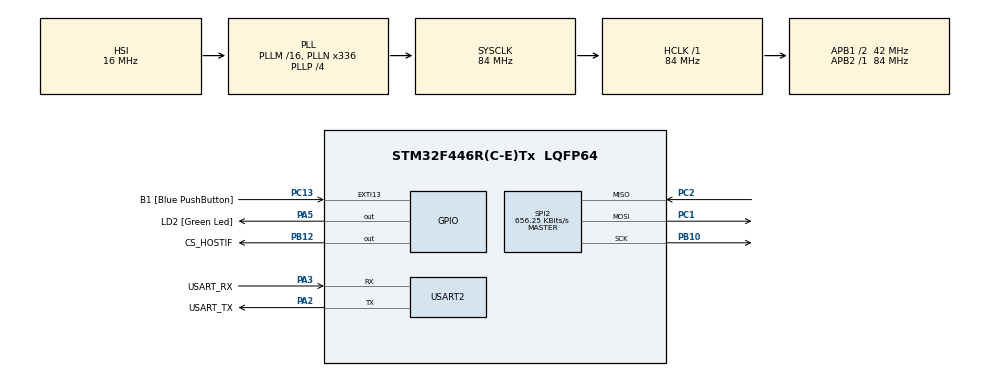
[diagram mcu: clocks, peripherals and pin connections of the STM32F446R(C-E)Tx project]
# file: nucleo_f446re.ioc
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Mcu.Family=STM32F4
Mcu.Name=STM32F446R(C-E)Tx
Mcu.Package=LQFP64
NVIC.PriorityGroup=NVIC_PRIORITYGROUP_0
PA13.GPIO_Label=TMS
PA13.Mode=Serial_Wire
PA13.Signal=SYS_JTMS-SWDIO
PA14.GPIO_Label=TCK
PA14.Mode=Serial_Wire
PA14.Signal=SYS_JTCK-SWCLK
PA2.GPIO_Label=USART_TX
PA2.Mode=Asynchronous
PA2.Signal=USART2_TX
PA3.GPIO_Label=USART_RX
PA3.Mode=Asynchronous
PA3.Signal=USART2_RX
PA5.GPIO_Label=LD2 [Green Led]
PA5.Signal=GPIO_Output
PB10.Mode=Full_Duplex_Master
PB10.Signal=SPI2_SCK
PB12.GPIO_Label=CS_HOSTIF
PB12.PinState=GPIO_PIN_SET
PB12.Signal=GPIO_Output
PB3.GPIO_Label=SWO
PB3.Signal=SYS_JTDO-SWO
PC1.Mode=Full_Duplex_Master
PC1.Signal=SPI2_MOSI
PC13.GPIO_Label=B1 [Blue PushButton]
PC13.GPIO_ModeDefaultEXTI=GPIO_MODE_IT_FALLING
PC13.Signal=GPXTI13
PC14-OSC32_IN.Mode=LSE-External-Oscillator
PC14-OSC32_IN.Signal=RCC_OSC32_IN
PC15-OSC32_OUT.Mode=LSE-External-Oscillator
PC15-OSC32_OUT.Signal=RCC_OSC32_OUT
PC2.Mode=Full_Duplex_Master
PC2.Signal=SPI2_MISO
PH0-OSC_IN.Mode=HSE-External-Oscillator
PH0-OSC_IN.Signal=RCC_OSC_IN
PH1-OSC_OUT.Mode=HSE-External-Oscillator
PH1-OSC_OUT.Signal=RCC_OSC_OUT
ProjectManager.HeapSize=0x200
ProjectManager.StackSize=0x400
ProjectManager.TargetToolchain=STM32CubeIDE
RCC.48MHZClocksFreq_Value=84000000
RCC.AHBFreq_Value=84000000
RCC.APB1CLKDivider=RCC_HCLK_DIV2
RCC.APB1Freq_Value=42000000
RCC.APB1TimFreq_Value=84000000
RCC.APB2Freq_Value=84000000
RCC.APB2TimFreq_Value=84000000
RCC.CortexFreq_Value=84000000
RCC.FLatency-AdvancedSettings=FLASH_LATENCY_2
RCC.HCLKFreq_Value=84000000
RCC.HSE_VALUE=8000000
RCC.HSI_VALUE=16000000
RCC.PLLN=336
RCC.PLLP=RCC_PLLP_DIV4
RCC.SYSCLKFreq_VALUE=84000000
RCC.SYSCLKSource=RCC_SYSCLKSOURCE_PLLCLK
RCC.USBFreq_Value=168000000
RCC.VCOOutputFreq_Value=336000000
SPI2.BaudRatePrescaler=SPI_BAUDRATEPRESCALER_64
SPI2.CLKPhase=SPI_PHASE_2EDGE
SPI2.CalculateBaudRate=656.25 KBits/s
SPI2.Direction=SPI_DIRECTION_2LINES
SPI2.Mode=SPI_MODE_MASTER
SPI2.VirtualType=VM_MASTER
USART2.VirtualMode=VM_ASYNC
board=NUCLEO-F446RE

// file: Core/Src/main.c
/* USER CODE BEGIN Header */
/**
  ******************************************************************************
  * @file           : main.c
  * @brief          : Main program body
  ******************************************************************************
  * @attention
  *
  * Copyright (c) 2023 STMicroelectronics.
  * All rights reserved.
  *
  * This software is licensed under terms that can be found in the LICENSE file
  * in the root directory of this software component.
  * If no LICENSE file comes with this software, it is provided AS-IS.
  *
  ******************************************************************************
  */
/* USER CODE END Header */
#include "main.h"

/* USER CODE BEGIN Includes */
#include <stdio.h>
#include "ntshell.h"
#include "usrcmd.h"
/* USER CODE END Includes */

 SPI_HandleTypeDef hspi2;

UART_HandleTypeDef huart2;

void SystemClock_Config(void);
static void MX_GPIO_Init(void);
static void MX_USART2_UART_Init(void);
static void MX_SPI2_Init(void);

/* USER CODE BEGIN 0 */
int __io_putchar(int ch) {
	HAL_UART_Transmit(&huart2, (uint8_t *)&ch, 1, 100);
	return ch;
}

static int serial_read(char* buf, int cnt, void* extobj) {
	int i = 0;
	while (i < cnt) {
		if (HAL_UART_Receive(&huart2, (uint8_t*)&buf[i], 1, 0xFFFF) == HAL_OK) {
			i++;
		}
	}
	return cnt;
}

static int serial_write(const char* text, int cnt, void* extobj) {
	HAL_UART_Transmit(&huart2, (uint8_t*)text, cnt, 100);
	return cnt;
}

static int user_callback(const char* text, void* extobj) {
	usrcmd_execute(text);
	return 0;
}

/* USER CODE END 0 */

int main(void)
{
  /* USER CODE BEGIN 1 */
  ntshell_t nts;
  /* USER CODE END 1 */

  /* MCU Configuration--------------------------------------------------------*/

  /* Reset of all peripherals, Initializes the Flash interface and the Systick. */
  HAL_Init();

  /* Configure the system clock */
  SystemClock_Config();

  /* Initialize all configured peripherals */
  MX_GPIO_Init();
  MX_USART2_UART_Init();
  MX_SPI2_Init();
  /* USER CODE BEGIN 2 */
  setbuf(stdout, NULL);

  char hello_world_msg[] = "Hello, World.";
  printf("%s\r\n", hello_world_msg);

  ntshell_init(&nts, serial_read, serial_write, user_callback, 0);
  ntshell_set_prompt(&nts, ">");
  /* USER CODE END 2 */

  /* Infinite loop */
  /* USER CODE BEGIN WHILE */
  while (1)
  {
	ntshell_execute(&nts);

    /* USER CODE END WHILE */

  }
}

void SystemClock_Config(void)
{
  RCC_OscInitTypeDef RCC_OscInitStruct = {0};
  RCC_ClkInitTypeDef RCC_ClkInitStruct = {0};

  /** Configure the main internal regulator output voltage
  */
  __HAL_RCC_PWR_CLK_ENABLE();
  __HAL_PWR_VOLTAGESCALING_CONFIG(PWR_REGULATOR_VOLTAGE_SCALE3);

  /** Initializes the RCC Oscillators according to the specified parameters
  * in the RCC_OscInitTypeDef structure.
  */
  RCC_OscInitStruct.OscillatorType = RCC_OSCILLATORTYPE_HSI;
  RCC_OscInitStruct.HSIState = RCC_HSI_ON;
  RCC_OscInitStruct.HSICalibrationValue = RCC_HSICALIBRATION_DEFAULT;
  RCC_OscInitStruct.PLL.PLLState = RCC_PLL_ON;
  RCC_OscInitStruct.PLL.PLLSource = RCC_PLLSOURCE_HSI;
  RCC_OscInitStruct.PLL.PLLM = 16;
  RCC_OscInitStruct.PLL.PLLN = 336;
  RCC_OscInitStruct.PLL.PLLP = RCC_PLLP_DIV4;
  RCC_OscInitStruct.PLL.PLLQ = 2;
  RCC_OscInitStruct.PLL.PLLR = 2;
  if (HAL_RCC_OscConfig(&RCC_OscInitStruct) != HAL_OK)
  {
    Error_Handler();
  }

  /** Initializes the CPU, AHB and APB buses clocks
  */
  RCC_ClkInitStruct.ClockType = RCC_CLOCKTYPE_HCLK|RCC_CLOCKTYPE_SYSCLK
                              |RCC_CLOCKTYPE_PCLK1|RCC_CLOCKTYPE_PCLK2;
  RCC_ClkInitStruct.SYSCLKSource = RCC_SYSCLKSOURCE_PLLCLK;
  RCC_ClkInitStruct.AHBCLKDivider = RCC_SYSCLK_DIV1;
  RCC_ClkInitStruct.APB1CLKDivider = RCC_HCLK_DIV2;
  RCC_ClkInitStruct.APB2CLKDivider = RCC_HCLK_DIV1;

  if (HAL_RCC_ClockConfig(&RCC_ClkInitStruct, FLASH_LATENCY_2) != HAL_OK)
  {
    Error_Handler();
  }
}

static void MX_SPI2_Init(void)
{

  /* SPI2 parameter configuration*/
  hspi2.Instance = SPI2;
  hspi2.Init.Mode = SPI_MODE_MASTER;
  hspi2.Init.Direction = SPI_DIRECTION_2LINES;
  hspi2.Init.DataSize = SPI_DATASIZE_8BIT;
  hspi2.Init.CLKPolarity = SPI_POLARITY_LOW;
  hspi2.Init.CLKPhase = SPI_PHASE_2EDGE;
  hspi2.Init.NSS = SPI_NSS_SOFT;
  hspi2.Init.BaudRatePrescaler = SPI_BAUDRATEPRESCALER_64;
  hspi2.Init.FirstBit = SPI_FIRSTBIT_MSB;
  hspi2.Init.TIMode = SPI_TIMODE_DISABLE;
  hspi2.Init.CRCCalculation = SPI_CRCCALCULATION_DISABLE;
  hspi2.Init.CRCPolynomial = 10;
  if (HAL_SPI_Init(&hspi2) != HAL_OK)
  {
    Error_Handler();
  }

}

static void MX_USART2_UART_Init(void)
{

  huart2.Instance = USART2;
  huart2.Init.BaudRate = 115200;
  huart2.Init.WordLength = UART_WORDLENGTH_8B;
  huart2.Init.StopBits = UART_STOPBITS_1;
  huart2.Init.Parity = UART_PARITY_NONE;
  huart2.Init.Mode = UART_MODE_TX_RX;
  huart2.Init.HwFlowCtl = UART_HWCONTROL_NONE;
  huart2.Init.OverSampling = UART_OVERSAMPLING_16;
  if (HAL_UART_Init(&huart2) != HAL_OK)
  {
    Error_Handler();
  }

}

static void MX_GPIO_Init(void)
{
  GPIO_InitTypeDef GPIO_InitStruct = {0};

  /* GPIO Ports Clock Enable */
  __HAL_RCC_GPIOC_CLK_ENABLE();
  __HAL_RCC_GPIOH_CLK_ENABLE();
  __HAL_RCC_GPIOA_CLK_ENABLE();
  __HAL_RCC_GPIOB_CLK_ENABLE();

  /*Configure GPIO pin Output Level */
  HAL_GPIO_WritePin(LD2_GPIO_Port, LD2_Pin, GPIO_PIN_RESET);

  /*Configure GPIO pin Output Level */
  HAL_GPIO_WritePin(CS_HOSTIF_GPIO_Port, CS_HOSTIF_Pin, GPIO_PIN_SET);

  /*Configure GPIO pin : B1_Pin */
  GPIO_InitStruct.Pin = B1_Pin;
  GPIO_InitStruct.Mode = GPIO_MODE_IT_FALLING;
  GPIO_InitStruct.Pull = GPIO_NOPULL;
  HAL_GPIO_Init(B1_GPIO_Port, &GPIO_InitStruct);

  /*Configure GPIO pin : LD2_Pin */
  GPIO_InitStruct.Pin = LD2_Pin;
  GPIO_InitStruct.Mode = GPIO_MODE_OUTPUT_PP;
  GPIO_InitStruct.Pull = GPIO_NOPULL;
  GPIO_InitStruct.Speed = GPIO_SPEED_FREQ_LOW;
  HAL_GPIO_Init(LD2_GPIO_Port, &GPIO_InitStruct);

  /*Configure GPIO pin : CS_HOSTIF_Pin */
  GPIO_InitStruct.Pin = CS_HOSTIF_Pin;
  GPIO_InitStruct.Mode = GPIO_MODE_OUTPUT_PP;
  GPIO_InitStruct.Pull = GPIO_NOPULL;
  GPIO_InitStruct.Speed = GPIO_SPEED_FREQ_LOW;
  HAL_GPIO_Init(CS_HOSTIF_GPIO_Port, &GPIO_InitStruct);

}

void Error_Handler(void)
{
  __disable_irq();
  while (1)
  {
  }
}
